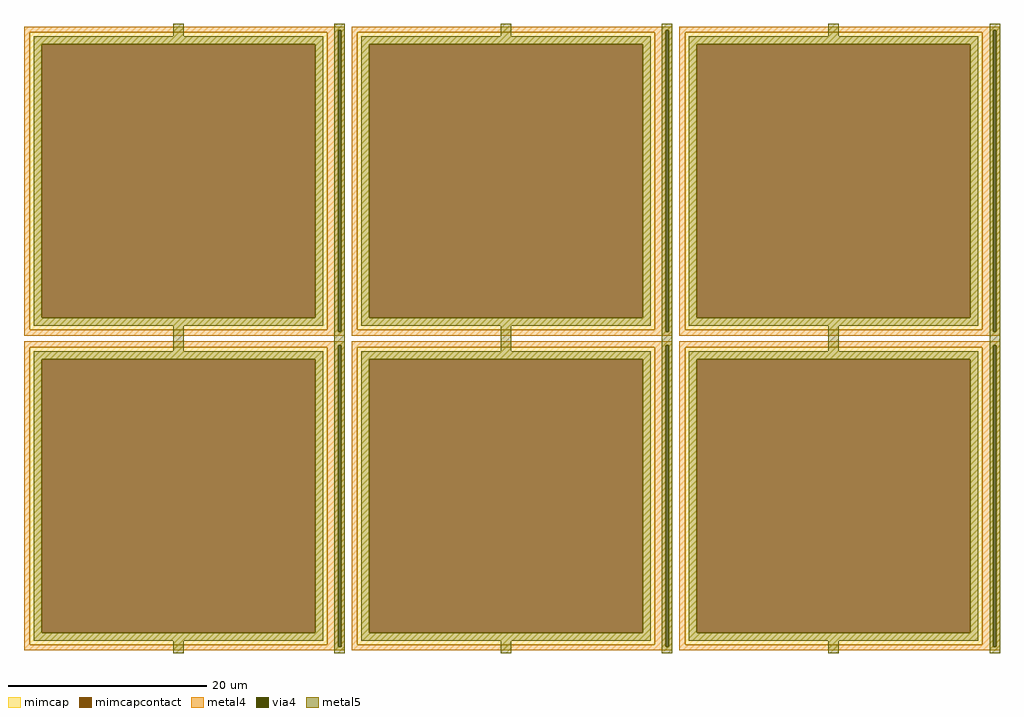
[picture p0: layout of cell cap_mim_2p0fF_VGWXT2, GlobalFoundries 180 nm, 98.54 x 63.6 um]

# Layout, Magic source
magic
tech gf180mcuD
magscale 1 5
<< mimcap >>
rect -4867 2972 -1867 3090
rect -4867 208 -4749 2972
rect -1985 208 -1867 2972
rect -4867 90 -1867 208
rect -1560 2972 1440 3090
rect -1560 208 -1442 2972
rect 1322 208 1440 2972
rect -1560 90 1440 208
rect 1747 2972 4747 3090
rect 1747 208 1865 2972
rect 4629 208 4747 2972
rect 1747 90 4747 208
rect -4867 -208 -1867 -90
rect -4867 -2972 -4749 -208
rect -1985 -2972 -1867 -208
rect -4867 -3090 -1867 -2972
rect -1560 -208 1440 -90
rect -1560 -2972 -1442 -208
rect 1322 -2972 1440 -208
rect -1560 -3090 1440 -2972
rect 1747 -208 4747 -90
rect 1747 -2972 1865 -208
rect 4629 -2972 4747 -208
rect 1747 -3090 4747 -2972
<< mimcapcontact >>
rect -4749 208 -1985 2972
rect -1442 208 1322 2972
rect 1865 208 4629 2972
rect -4749 -2972 -1985 -208
rect -1442 -2972 1322 -208
rect 1865 -2972 4629 -208
<< metal4 >>
rect -4927 3112 -1687 3150
rect -4927 3090 -1754 3112
rect -4927 90 -4867 3090
rect -1867 90 -1754 3090
rect -4927 68 -1754 90
rect -1726 68 -1687 3112
rect -4927 30 -1687 68
rect -1620 3112 1620 3150
rect -1620 3090 1553 3112
rect -1620 90 -1560 3090
rect 1440 90 1553 3090
rect -1620 68 1553 90
rect 1581 68 1620 3112
rect -1620 30 1620 68
rect 1687 3112 4927 3150
rect 1687 3090 4860 3112
rect 1687 90 1747 3090
rect 4747 90 4860 3090
rect 1687 68 4860 90
rect 4888 68 4927 3112
rect 1687 30 4927 68
rect -4927 -68 -1687 -30
rect -4927 -90 -1754 -68
rect -4927 -3090 -4867 -90
rect -1867 -3090 -1754 -90
rect -4927 -3112 -1754 -3090
rect -1726 -3112 -1687 -68
rect -4927 -3150 -1687 -3112
rect -1620 -68 1620 -30
rect -1620 -90 1553 -68
rect -1620 -3090 -1560 -90
rect 1440 -3090 1553 -90
rect -1620 -3112 1553 -3090
rect 1581 -3112 1620 -68
rect -1620 -3150 1620 -3112
rect 1687 -68 4927 -30
rect 1687 -90 4860 -68
rect 1687 -3090 1747 -90
rect 4747 -3090 4860 -90
rect 1687 -3112 4860 -3090
rect 4888 -3112 4927 -68
rect 1687 -3150 4927 -3112
<< via4 >>
rect -1754 68 -1726 3112
rect 1553 68 1581 3112
rect 4860 68 4888 3112
rect -1754 -3112 -1726 -68
rect 1553 -3112 1581 -68
rect 4860 -3112 4888 -68
<< metal5 >>
rect -3420 3050 -3314 3180
rect -1793 3112 -1687 3180
rect -4827 2972 -1907 3050
rect -4827 208 -4749 2972
rect -1985 208 -1907 2972
rect -4827 130 -1907 208
rect -3420 -130 -3314 130
rect -1793 68 -1754 3112
rect -1726 68 -1687 3112
rect -113 3050 -7 3180
rect 1514 3112 1620 3180
rect -1520 2972 1400 3050
rect -1520 208 -1442 2972
rect 1322 208 1400 2972
rect -1520 130 1400 208
rect -1793 -68 -1687 68
rect -4827 -208 -1907 -130
rect -4827 -2972 -4749 -208
rect -1985 -2972 -1907 -208
rect -4827 -3050 -1907 -2972
rect -3420 -3180 -3314 -3050
rect -1793 -3112 -1754 -68
rect -1726 -3112 -1687 -68
rect -113 -130 -7 130
rect 1514 68 1553 3112
rect 1581 68 1620 3112
rect 3194 3050 3300 3180
rect 4821 3112 4927 3180
rect 1787 2972 4707 3050
rect 1787 208 1865 2972
rect 4629 208 4707 2972
rect 1787 130 4707 208
rect 1514 -68 1620 68
rect -1520 -208 1400 -130
rect -1520 -2972 -1442 -208
rect 1322 -2972 1400 -208
rect -1520 -3050 1400 -2972
rect -1793 -3180 -1687 -3112
rect -113 -3180 -7 -3050
rect 1514 -3112 1553 -68
rect 1581 -3112 1620 -68
rect 3194 -130 3300 130
rect 4821 68 4860 3112
rect 4888 68 4927 3112
rect 4821 -68 4927 68
rect 1787 -208 4707 -130
rect 1787 -2972 1865 -208
rect 4629 -2972 4707 -208
rect 1787 -3050 4707 -2972
rect 1514 -3180 1620 -3112
rect 3194 -3180 3300 -3050
rect 4821 -3112 4860 -68
rect 4888 -3112 4927 -68
rect 4821 -3180 4927 -3112
<< properties >>
string FIXED_BBOX 1687 30 4807 3150
<< end >>
